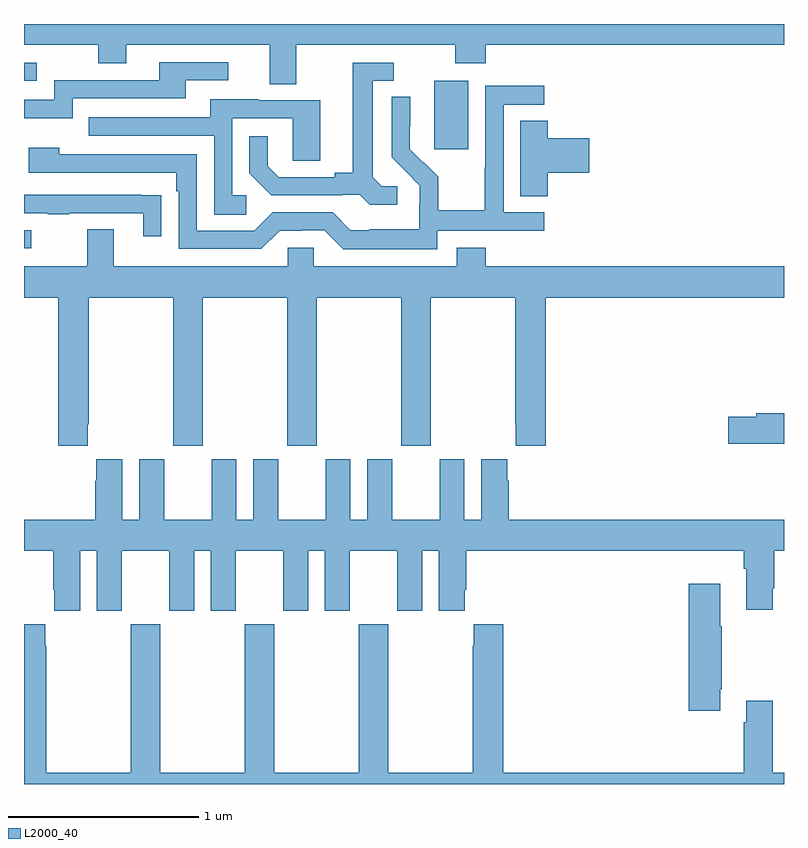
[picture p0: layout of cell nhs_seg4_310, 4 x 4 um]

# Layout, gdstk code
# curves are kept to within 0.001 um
import gdstk
lib = gdstk.Library(unit=1e-6, precision=1e-09)
def R(c, l, rs):  # rectangles x0, y0, x1, y1
    for r in rs: c.add(gdstk.rectangle(r[:2], r[2:], *l))
def P(c, l, *ps):  # polygons
    for p in ps: c.add(gdstk.Polygon(p, *l))
L2000_40 = (2000, 40)

nhs_seg4_310 = lib.new_cell('nhs_seg4_310')
R(nhs_seg4_310, L2000_40, [(125,823.719,125.038,823.815), (127.16,824.241,127.339,824.602), (125,824.601,125.068,824.697)])
P(nhs_seg4_310, L2000_40, [(126.433,824.792),(127.27,824.792),(127.27,824.693),(127.43,824.693),(127.43,824.792),(129,824.792),(129,824.9),(125,824.9),(125,824.792),(125.392,824.792),(125.392,824.693),(125.539,824.693),(125.539,824.792),(126.293,824.792),(126.293,824.584),(126.433,824.584)],
  [(125.256,824.508),(125.851,824.508),(125.851,824.604),(126.076,824.604),(126.076,824.7),(125.711,824.7),(125.711,824.604),(125.16,824.604),(125.16,824.502),(125,824.502),(125,824.405),(125.256,824.405)],
  [(126.964,824.046),(126.882,824.046),(126.835,824.093),(126.835,824.601),(126.946,824.601),(126.946,824.697),(126.731,824.697),(126.731,824.117),(126.635,824.117),(126.635,824.094),(126.34,824.094),(126.283,824.151),(126.283,824.308),(126.186,824.308),(126.186,824.114),(126.302,823.998),(126.674,823.998),(126.674,824.001),(126.768,824.001),(126.82,823.949),(126.964,823.949)],
  [(127.176,823.812),(127.738,823.812),(127.738,823.908),(127.524,823.908),(127.524,824.475),(127.738,824.475),(127.738,824.574),(127.428,824.574),(127.428,824.144),(127.426,824.144),(127.426,823.921),(127.181,823.921),(127.181,824.095),(127.104,824.172),(127.101,824.169),(127.031,824.24),(127.032,824.516),(126.936,824.516),(126.936,824.198),(127.082,824.05),(127.082,823.953),(127.08,823.953),(127.08,823.819),(126.817,823.819),(126.817,823.815),(126.717,823.815),(126.624,823.908),(126.309,823.908),(126.213,823.812),(125.91,823.812),(125.91,824.214),(125.186,824.214),(125.186,824.248),(125.025,824.248),(125.025,824.118),(125.801,824.118),(125.801,824.021),(125.814,824.021),(125.814,823.716),(126.249,823.716),(126.345,823.812),(126.464,823.812),(126.464,823.815),(126.579,823.815),(126.679,823.715),(127.176,823.715)],
  [(126.169,823.998),(126.096,823.998),(126.096,824.403),(126.414,824.403),(126.414,824.179),(126.559,824.179),(126.559,824.499),(126.235,824.499),(126.235,824.503),(125.981,824.503),(125.981,824.409),(125.341,824.409),(125.341,824.313),(126,824.313),(126,823.897),(126.169,823.897)],
  [(127.757,824.117),(127.975,824.117),(127.975,824.3),(127.757,824.3),(127.757,824.39),(127.613,824.39),(127.613,823.993),(127.757,823.993)],
  [(125.723,824),(125.621,824),(125.621,824.001),(125,824.001),(125,823.905),(125.125,823.905),(125.125,823.9),(125.237,823.9),(125.237,823.905),(125.627,823.905),(125.627,823.782),(125.723,823.782)],
  [(125.335,822.793),(125.34,822.793),(125.34,823.46),(125.785,823.46),(125.785,822.681),(125.94,822.681),(125.94,823.46),(126.385,823.46),(126.385,822.681),(126.54,822.681),(126.54,823.46),(126.985,823.46),(126.985,822.681),(127.14,822.681),(127.14,823.46),(127.585,823.46),(127.585,822.793),(127.589,822.793),(127.589,822.681),(127.745,822.681),(127.745,823.46),(129,823.46),(129,823.624),(127.43,823.624),(127.43,823.723),(127.277,823.723),(127.277,823.624),(126.525,823.624),(126.525,823.722),(126.387,823.722),(126.387,823.624),(125.473,823.624),(125.473,823.819),(125.333,823.819),(125.333,823.624),(125,823.624),(125,823.46),(125.18,823.46),(125.18,822.681),(125.335,822.681)],
  [(129,822.852),(128.855,822.852),(128.855,822.833),(128.706,822.833),(128.706,822.691),(129,822.691)],
  [(125.296,822.128),(125.384,822.128),(125.384,821.811),(125.515,821.811),(125.515,822.128),(125.765,822.128),(125.765,821.811),(125.896,821.811),(125.896,822.128),(125.984,822.128),(125.984,821.811),(126.115,821.811),(126.115,822.128),(126.365,822.128),(126.365,821.811),(126.496,821.811),(126.496,822.128),(126.584,822.128),(126.584,821.811),(126.715,821.811),(126.715,822.128),(126.965,822.128),(126.965,821.811),(127.096,821.811),(127.096,822.128),(127.184,822.128),(127.184,821.811),(127.321,821.811),(127.321,821.923),(127.328,821.923),(127.328,822.128),(128.789,822.128),(128.789,822.032),(128.801,822.032),(128.801,821.817),(128.941,821.817),(128.941,821.929),(128.949,821.929),(128.949,822.128),(129,822.128),(129,822.292),(127.55,822.292),(127.55,822.497),(127.543,822.497),(127.543,822.61),(127.406,822.61),(127.406,822.292),(127.318,822.292),(127.318,822.61),(127.187,822.61),(127.187,822.292),(126.937,822.292),(126.937,822.61),(126.806,822.61),(126.806,822.292),(126.718,822.292),(126.718,822.61),(126.587,822.61),(126.587,822.292),(126.337,822.292),(126.337,822.61),(126.206,822.61),(126.206,822.292),(126.118,822.292),(126.118,822.61),(125.987,822.61),(125.987,822.292),(125.737,822.292),(125.737,822.61),(125.606,822.61),(125.606,822.292),(125.518,822.292),(125.518,822.61),(125.381,822.61),(125.381,822.497),(125.375,822.497),(125.375,822.292),(125,822.292),(125,822.128),(125.153,822.128),(125.153,821.923),(125.159,821.923),(125.159,821.811),(125.296,821.811)],
  [(128.665,821.398),(128.673,821.398),(128.673,821.729),(128.665,821.729),(128.665,821.953),(128.498,821.953),(128.498,821.286),(128.665,821.286)],
  [(129,820.96),(128.941,820.96),(128.941,821.338),(128.801,821.338),(128.801,821.225),(128.789,821.225),(128.789,820.96),(127.523,820.96),(127.523,821.74),(127.367,821.74),(127.367,821.627),(127.363,821.627),(127.363,820.96),(126.918,820.96),(126.918,821.74),(126.763,821.74),(126.763,820.96),(126.318,820.96),(126.318,821.74),(126.163,821.74),(126.163,820.96),(125.718,820.96),(125.718,821.74),(125.563,821.74),(125.563,820.96),(125.118,820.96),(125.118,821.627),(125.113,821.627),(125.113,821.74),(125,821.74),(125,820.9),(129,820.9)])

lib.write_gds('nhs_seg4_310.gds')
